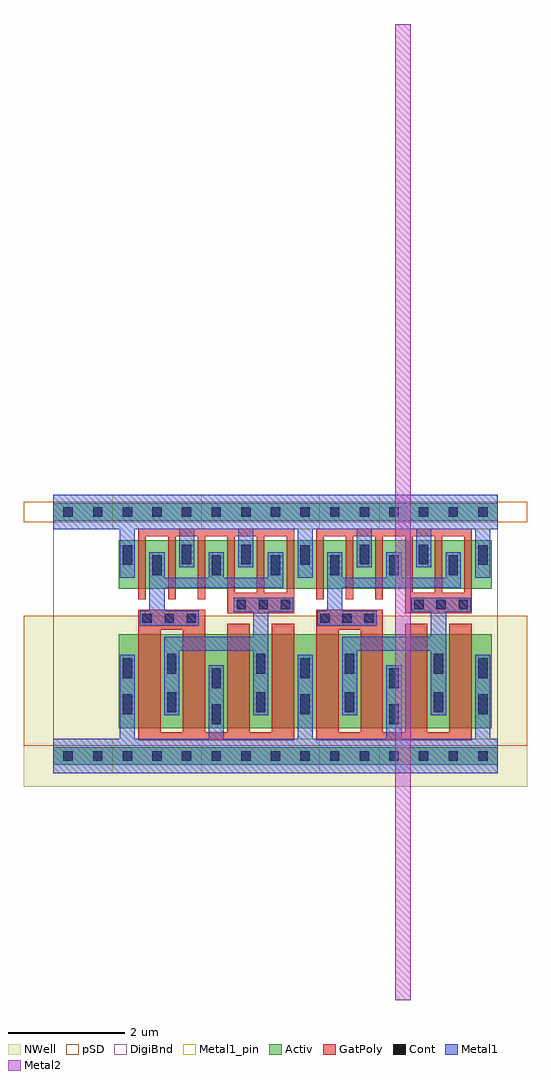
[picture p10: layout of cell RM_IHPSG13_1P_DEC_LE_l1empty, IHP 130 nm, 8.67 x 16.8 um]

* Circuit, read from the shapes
.subckt RM_IHPSG13_1P_DEC_LE_l1empty VDD! VSS!
XM1 n1 n2 VSS! VSS! sg13_lv_nmos w=0.83u l=0.13u m=6
XM2 n3 n4 VSS! VSS! sg13_lv_nmos w=0.83u l=0.13u m=6
XM3 n2 n1 VDD! VDD! sg13_lv_pmos w=1.62u l=0.385u m=4
XM4 n4 n3 VDD! VDD! sg13_lv_pmos w=1.62u l=0.385u m=4
.ends

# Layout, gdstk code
import gdstk
lib = gdstk.Library(unit=1e-6, precision=1e-09)
def R(c, l, rs):  # rectangles x0, y0, x1, y1
    for r in rs: c.add(gdstk.rectangle(r[:2], r[2:], *l))
def A(c, l, x, y, w, h, nx, ny, dx, dy):  # array of equal rectangles
    R(c, l, [(x+i*dx, y+j*dy, x+i*dx+w, y+j*dy+h) for i in range(nx) for j in range(ny)])
def P(c, l, *ps):  # polygons
    for p in ps: c.add(gdstk.Polygon(p, *l))
Activ = (1, 0)
GatPoly = (5, 0)
Cont = (6, 0)
Metal1 = (8, 0)
Metal1_pin = (8, 2)
Metal2 = (10, 0)
pSD = (14, 0)
DigiBnd = (16, 0)
NWell = (31, 0)

rsc_ihpsg13_fillcap8 = lib.new_cell('RSC_IHPSG13_FILLCAP8')
R(rsc_ihpsg13_fillcap8, Activ, [(-1.53,-0.15,2.04,0.15), (-1.425,0.49,1.935,1.32), (-1.425,2.1,1.935,3.72), (-1.53,4.05,2.04,4.35)])
A(rsc_ihpsg13_fillcap8, GatPoly, -1.085, 0.3, 0.13, 1.2, 6, 1, 0.51, 0)
A(rsc_ihpsg13_fillcap8, GatPoly, -1.085, 1.92, 0.385, 1.98, 4, 1, 0.765, 0)
R(rsc_ihpsg13_fillcap8, GatPoly, [(-1.085,0.29,1.595,0.42), (0.445,1.39,1.595,1.52), (0.445,1.44,1.595,1.74), (-1.085,1.68,0.065,1.98), (-1.085,1.68,-0.605,1.98), (-1.085,1.89,0.065,2.03), (-1.085,3.79,1.595,3.93)])
A(rsc_ihpsg13_fillcap8, Cont, -1.355, -0.08, 0.16, 0.16, 7, 2, 0.51, 4.2)
A(rsc_ihpsg13_fillcap8, Cont, -0.845, 0.745, 0.16, 0.34, 3, 1, 1.02, 0)
A(rsc_ihpsg13_fillcap8, Cont, 0.605, 1.51, 0.16, 0.16, 3, 1, 0.38, 0)
A(rsc_ihpsg13_fillcap8, Cont, -1.015, 1.75, 0.16, 0.16, 3, 1, 0.38, 0)
R(rsc_ihpsg13_fillcap8, Cont, [(-0.335,0.56,-0.175,0.9), (0.685,0.56,0.845,0.9), (-1.355,0.57,-1.195,0.91), (1.705,0.57,1.865,0.91), (-0.59,2.44,-0.43,2.78), (0.94,2.44,1.1,2.78), (-1.355,2.52,-1.195,2.86), (1.705,2.52,1.865,2.86), (0.175,2.69,0.335,3.03), (-0.59,3.105,-0.43,3.445), (0.94,3.105,1.1,3.445), (-1.355,3.14,-1.195,3.48), (1.705,3.14,1.865,3.48), (0.175,3.31,0.335,3.65)])
R(rsc_ihpsg13_fillcap8, Metal1, [(-0.895,1.3,-0.635,1.96), (0.555,1.48,1.575,1.72), (0.89,1.48,1.15,2.39), (-1.065,1.7,-0.045,1.96), (-0.64,2.15,1.15,2.39), (-0.64,2.39,-0.38,3.495), (0.89,2.39,1.15,3.495)])
P(rsc_ihpsg13_fillcap8, Metal1, [(-1.405,2.46),(-1.405,3.9),(-1.53,3.9),(-1.53,4.5),(2.04,4.5),(2.04,3.9),(1.915,3.9),(1.915,2.46),(1.655,2.46),(1.655,3.9),(0.385,3.9),(0.385,2.64),(0.125,2.64),(0.125,3.9),(-1.145,3.9),(-1.145,2.46)],
  [(-1.53,-0.3),(-1.53,0.3),(-1.405,0.3),(-1.405,1.135),(-1.145,1.135),(-1.145,0.3),(-0.385,0.3),(-0.385,0.95),(-0.125,0.95),(-0.125,0.3),(0.635,0.3),(0.635,0.95),(0.895,0.95),(0.895,0.3),(1.655,0.3),(1.655,1.135),(1.915,1.135),(1.915,0.3),(2.04,0.3),(2.04,-0.3)],
  [(-0.895,0.695),(-0.895,1.3),(1.405,1.3),(1.405,0.695),(1.145,0.695),(1.145,1.13),(0.385,1.13),(0.385,0.695),(0.125,0.695),(0.125,1.13),(-0.635,1.13),(-0.635,0.695)])
R(rsc_ihpsg13_fillcap8, Metal1_pin, [(0,-0.3,2.04,0.3), (0,3.9,2.04,4.5)])
R(rsc_ihpsg13_fillcap8, pSD, [(-2.04,-0.18,2.55,0.18), (-2.04,1.785,2.55,4.02)])
R(rsc_ihpsg13_fillcap8, DigiBnd, [(-1.53,-0.3,2.04,4.5)])
R(rsc_ihpsg13_fillcap8, NWell, [(-2.04,1.785,2.55,4.725)])
rsc_ihpsg13_fillcap8.add(gdstk.Label('VDD!', (0.84,4.2), layer=8, texttype=2))
rsc_ihpsg13_fillcap8.add(gdstk.Label('VSS!', (1.155,0.005), layer=8, texttype=2))

rsc_ihpsg13_fill2 = lib.new_cell('RSC_IHPSG13_FILL2')
R(rsc_ihpsg13_fill2, Activ, [(0,-0.15,1.02,0.15), (0,4.05,1.02,4.35)])
R(rsc_ihpsg13_fill2, Cont, [(0.175,-0.08,0.335,0.08), (0.685,-0.08,0.845,0.08), (0.175,4.12,0.335,4.28), (0.685,4.12,0.845,4.28)])
R(rsc_ihpsg13_fill2, Metal1, [(0,-0.3,1.02,0.3), (0,3.9,1.02,4.5)])
R(rsc_ihpsg13_fill2, Metal1_pin, [(0,-0.3,1.02,0.3), (0,3.9,1.02,4.5)])
R(rsc_ihpsg13_fill2, pSD, [(-0.51,-0.18,1.53,0.18), (-0.51,1.785,1.53,4.02)])
R(rsc_ihpsg13_fill2, DigiBnd, [(0,-0.3,1.02,4.5)])
R(rsc_ihpsg13_fill2, NWell, [(-0.51,1.785,1.53,4.725)])
rsc_ihpsg13_fill2.add(gdstk.Label('VSS!', (0.635,-0.005), layer=8, texttype=2))
rsc_ihpsg13_fill2.add(gdstk.Label('VDD!', (0.515,4.215), layer=8, texttype=2))

rm_ihpsg13_1p_dec_le_l1e = lib.new_cell('RM_IHPSG13_1P_DEC_LE_l1empty')
R(rm_ihpsg13_1p_dec_le_l1e, Metal2, [(5.89,0,6.15,16.8)])
rm_ihpsg13_1p_dec_le_l1e.add(gdstk.Reference(rsc_ihpsg13_fillcap8, (2.55,8.4), x_reflection=True))
rm_ihpsg13_1p_dec_le_l1e.add(gdstk.Reference(rsc_ihpsg13_fillcap8, (5.61,8.4), x_reflection=True))
r = gdstk.Reference(rsc_ihpsg13_fill2, (0,8.4), x_reflection=True); r.repetition = gdstk.Repetition(1, 1, v1=(0,0), v2=(0,0)); rm_ihpsg13_1p_dec_le_l1e.add(r)

lib.write_gds('RM_IHPSG13_1P_DEC_LE_l1empty.gds')
